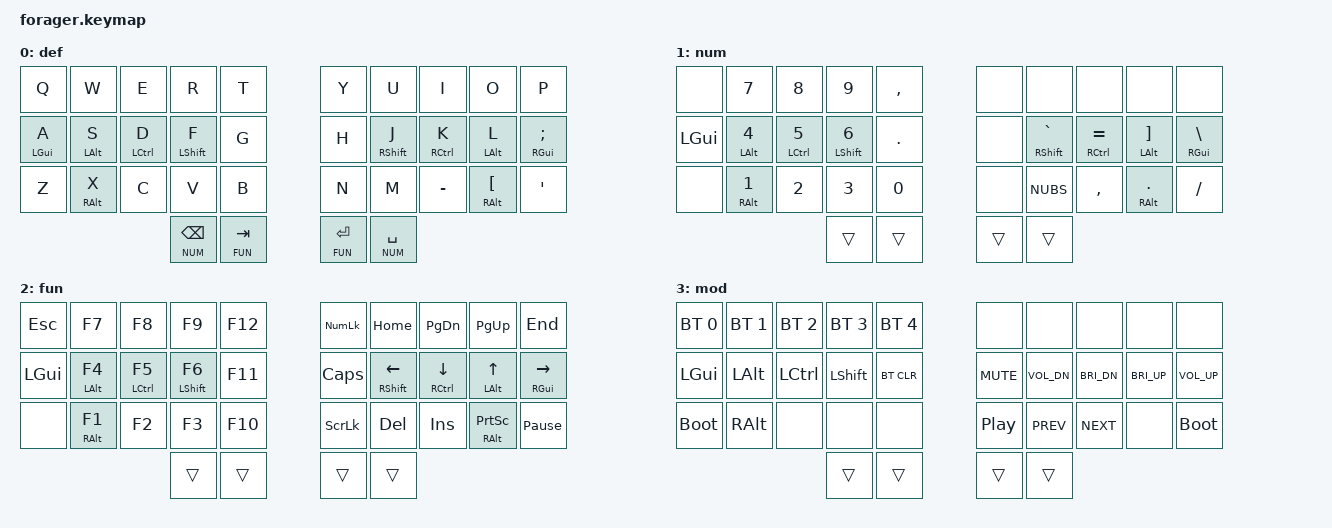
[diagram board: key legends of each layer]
#include <behaviors.dtsi>
#include <dt-bindings/zmk/keys.h>
#include <dt-bindings/zmk/bt.h>
#include <dt-bindings/zmk/outputs.h>

#define DEF 0
#define NUM 1
#define FUN 2
#define MOD 3

&lt {
    compatible = "zmk,behavior-hold-tap";
    flavor = "balanced";
    tapping-term-ms = <250>;
    quick-tap-ms = <200>;
    require-prior-idle-ms = <150>;
    hold-trigger-on-release;
};

/ {
    behaviors {
      l_p: left_positional_hold_tap {
          compatible = "zmk,behavior-hold-tap";
          #binding-cells = <2>;
          flavor = "balanced";
          tapping-term-ms = <275>;                 
          quick-tap-ms = <175>;
          require-prior-idle-ms = <150>;
          bindings = <&kp>, <&kp>;
          hold-trigger-key-positions = <5 6 7 8 9 15 16 17 18 19 25 26 27 28 29 30 31 32 33>;
          hold-trigger-on-release;
        };

      r_p: right_positional_hold_tap {
          compatible = "zmk,behavior-hold-tap";
          #binding-cells = <2>;
          flavor = "balanced";
          tapping-term-ms = <275>;                      
          quick-tap-ms = <175>;
          require-prior-idle-ms = <150>;
          bindings = <&kp>, <&kp>;
          hold-trigger-key-positions = <0 1 2 3 4 10 11 12 13 14 20 21 22 23 24 30 31 32 33>;
          hold-trigger-on-release;
        };
    };

    conditional_layers {
        compatible = "zmk,conditional-layers";
        mod_layer {
            if-layers = <NUM FUN>;
            then-layer = <MOD>;
        };
    };

  keymap {
    compatible = "zmk,keymap";

    def {
      bindings = <
        &kp Q          &kp W         &kp E         &kp R          &kp T                                           &kp Y           &kp U          &kp I         &kp O            &kp P
        &l_p LGUI A    &l_p LALT S   &l_p LCTRL D  &l_p LSHFT F   &kp G                                           &kp H           &r_p RSHFT J   &r_p RCTRL K  &r_p LALT L      &r_p RGUI SEMI
        &kp Z          &l_p RALT X   &kp C         &kp V          &kp B                                           &kp N           &kp M          &kp MINUS     &r_p RALT LBKT   &kp SQT
                                                                  &lt NUM BSPC   &lt FUN TAB      &lt FUN ENTER   &lt NUM SPACE
      >;
    };

    num {
      bindings = <
        &none         &kp N7         &kp N8         &kp N9          &kp COMMA                                  &none      &none              &none              &none            &none
        &kp LGUI      &l_p LALT N4   &l_p LCTRL N5  &l_p LSHFT N6   &kp DOT                                    &none      &r_p RSHFT GRAVE   &r_p RCTRL EQUAL   &r_p LALT RBKT   &r_p RGUI BSLH
        &none         &l_p RALT N1   &kp N2         &kp N3          &kp N0                                     &none      &kp NUBS           &kp COMMA          &r_p RALT DOT    &kp FSLH
                                                                    &trans         &trans         &trans       &trans
      >;
    };

    fun {
      bindings = <
        &kp ESC       &kp F7         &kp F8         &kp F9          &kp F12                                    &kp KP_NLCK   &kp HOME          &kp PG_DN         &kp PG_UP         &kp END
        &kp LGUI      &l_p LALT F4   &l_p LCTRL F5  &l_p LSHFT F6   &kp F11                                    &kp CAPS      &r_p RSHFT LEFT   &r_p RCTRL DOWN   &r_p LALT UP      &r_p RGUI RIGHT
        &none         &l_p RALT F1   &kp F2         &kp F3          &kp F10                                    &kp SLCK      &kp DEL           &kp INS           &r_p RALT PSCRN   &kp PAUSE_BREAK
                                                                    &trans          &trans         &trans      &trans
      >;
    };

    mod {
      bindings = <
        &bt BT_SEL 0    &bt BT_SEL 1 &bt BT_SEL 2 &bt BT_SEL 3    &bt BT_SEL 4                              &none                    &none             &none          &none          &none
        &kp LGUI        &kp LALT     &kp LCTRL    &kp LSHFT       &bt BT_CLR                                &kp C_MUTE               &kp C_VOL_DN      &kp C_BRI_DN   &kp C_BRI_UP   &kp C_VOL_UP
        &bootloader     &kp RALT     &none        &none           &none                                     &kp C_PP                 &kp C_PREV        &kp C_NEXT     &none          &bootloader
                                                                  &trans         &trans         &trans      &trans
      >;
    };
  };
};
